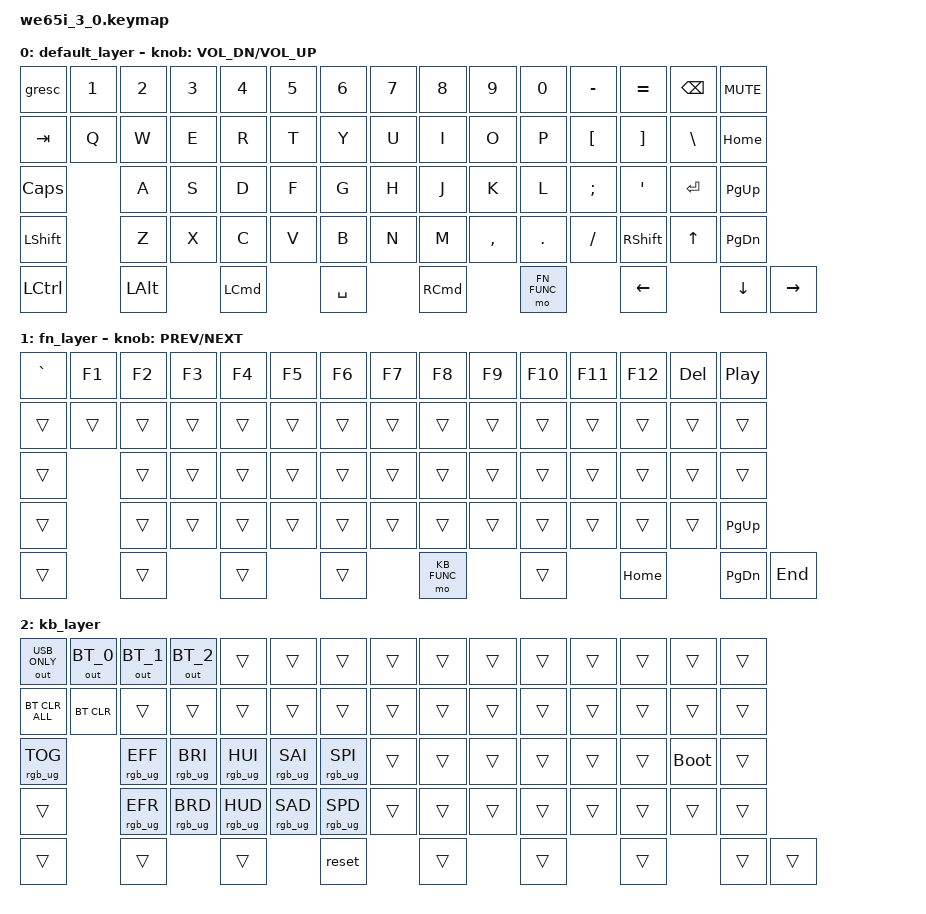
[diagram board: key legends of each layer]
#include <behaviors.dtsi>
#include <dt-bindings/zmk/keys.h>
#include <dt-bindings/zmk/outputs.h>
#include <dt-bindings/zmk/bt.h>
#include <dt-bindings/zmk/rgb.h>

#define DEFAULT	0
#define FN_FUNC	1
#define KB_FUNC	2

/ {
	keymap {
		compatible = "zmk,keymap";
		default_layer {
			bindings = <
	&gresc    &kp N1    &kp N2    &kp N3    &kp N4    &kp N5    &kp N6    &kp N7    &kp N8    &kp N9    &kp N0    &kp MINUS &kp EQUAL &kp BSPC  &kp C_MUTE
	&kp TAB   &kp Q     &kp W     &kp E     &kp R     &kp T     &kp Y     &kp U     &kp I     &kp O     &kp P     &kp LBKT  &kp RBKT  &kp BSLH  &kp HOME  
	&kp CAPS            &kp A     &kp S     &kp D     &kp F     &kp G     &kp H     &kp J     &kp K     &kp L     &kp SEMI  &kp APOS  &kp ENTER &kp PG_UP 
	&kp LSHFT           &kp Z     &kp X     &kp C     &kp V     &kp B     &kp N     &kp M     &kp COMMA &kp DOT   &kp FSLH  &kp RSHFT &kp UP    &kp PG_DN  
	&kp LCTRL           &kp LALT            &kp LCMD            &kp SPACE           &kp RCMD            &mo FN_FUNC         &kp LEFT            &kp DOWN &kp RIGHT
			>;
			sensor-bindings = <&inc_dec_kp C_VOL_DN C_VOL_UP>;
		};
		fn_layer {
			bindings = <
	&kp GRAVE &kp F1    &kp F2    &kp F3    &kp F4    &kp F5    &kp F6    &kp F7    &kp F8    &kp F9    &kp F10   &kp F11   &kp F12   &kp DEL   &kp C_PP
	&trans    &trans    &trans    &trans    &trans    &trans    &trans    &trans    &trans    &trans    &trans    &trans    &trans    &trans    &trans 
	&trans              &trans    &trans    &trans    &trans    &trans    &trans    &trans    &trans    &trans    &trans    &trans    &trans    &trans 
	&trans              &trans    &trans    &trans    &trans    &trans    &trans    &trans    &trans    &trans    &trans    &trans    &trans    &kp PG_UP  
	&trans              &trans              &trans              &trans              &mo KB_FUNC         &trans              &kp HOME            &kp PG_DN   &kp END
			>;
			sensor-bindings = <&inc_dec_kp C_PREV C_NEXT>;
		};
		kb_layer {
			bindings = <
	&out OUT_USB_ONLY    &out OUT_BT_0    &out OUT_BT_1    &out OUT_BT_2    &trans    &trans    &trans    &trans    &trans    &trans    &trans    &trans    &trans    &trans    &trans
	&bt BT_CLR_ALL    &bt BT_CLR    &trans    &trans    &trans    &trans    &trans    &trans    &trans    &trans    &trans    &trans    &trans    &trans    &trans 
	&rgb_ug RGB_TOG              &rgb_ug RGB_EFF    &rgb_ug RGB_BRI    &rgb_ug RGB_HUI    &rgb_ug RGB_SAI    &rgb_ug RGB_SPI    &trans    &trans    &trans    &trans    &trans    &trans    &bootloader    &trans 
	&trans              &rgb_ug RGB_EFR    &rgb_ug RGB_BRD    &rgb_ug RGB_HUD    &rgb_ug RGB_SAD    &rgb_ug RGB_SPD    &trans    &trans    &trans    &trans    &trans    &trans    &trans    &trans  
	&trans              &trans              &trans              &reset              &trans              &trans              &trans              &trans   &trans
			>;
		};
	};
};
